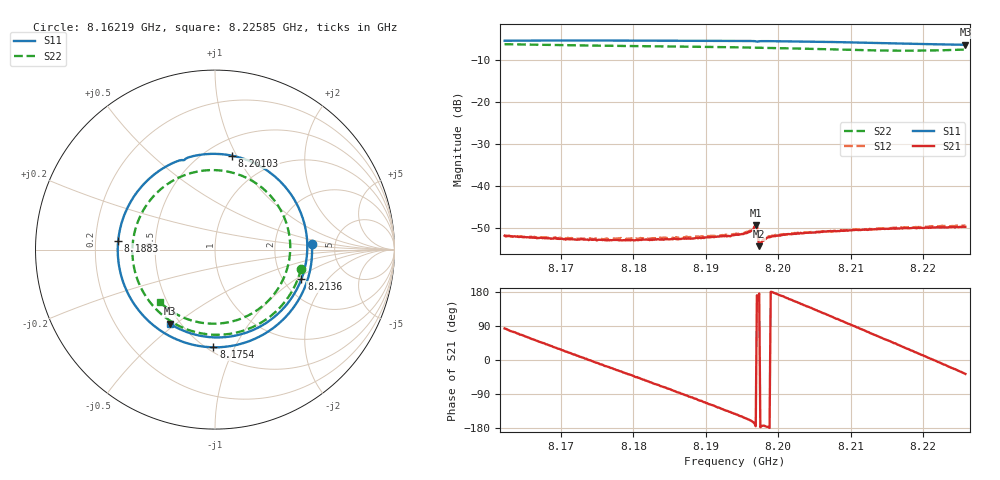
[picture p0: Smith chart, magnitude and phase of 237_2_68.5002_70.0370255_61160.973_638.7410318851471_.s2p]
#  HZ  S  RI  R  50.00
! Rohde & Schwarz Vector Network Analyzer
! Rohde-Schwarz,ZNB20-2Port,1311601062101988,3.16
! Created: UTC 3/20/2024, 4:59:11 PM
! freq[Hz]  re:S11  im:S11  re:S21  im:S21  re:S12  im:S12  re:S22  im:S22
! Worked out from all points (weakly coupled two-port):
!   401 points, 8.16219 GHz to 8.22585 GHz, reference 50 ohm
!   highest |S21| = -49.43 dB at 8.19689 GHz (marker M1); lowest = -54.4 dB at 8.19737 GHz (marker M2)
!   lowest |S11| = -6.3 dB at 8.22585 GHz (marker M3), VSWR 2.87, Z = 22.1 - j23.7 ohm
!   |S11| at or under -10 dB: nowhere
!   |S22| runs from -7.7 to -6.2 dB; largest |S21 - S12| = 0.00021
!   S11 on the Smith chart (normalised r, x): 8.16219 GHz: 3.32, +0.30; 8.1754 GHz: 0.54, -0.83; 8.1883 GHz: 0.30, +0.04; 8.20103 GHz: 0.66, +0.96; 8.2136 GHz: 2.51, -1.11; 8.22585 GHz: 0.44, -0.47
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8.162195e9  0.5395 0.0324  0.000295 0.00251  0.000317 0.00249  0.4798 -0.1054
8.167128e9  0.4625 -0.2853  0.00163 0.00176  0.00162 0.00177  0.3313 -0.3523
8.172858e9  0.1628 -0.5196  0.00229 0.00027  0.00231 0.000302  0.0293 -0.4741
8.175404e9  -0.00859 -0.5443  0.00221 -0.000441  0.00231 -0.0004  -0.1147 -0.4578
8.179224e9  -0.2601 -0.4777  0.00177 -0.00135  0.00183 -0.00142  -0.303 -0.3561
8.183521e9  -0.4701 -0.272  0.000911 -0.00209  0.000919 -0.00217  -0.435 -0.1582
8.188295e9  -0.5395 0.0484  -0.000438 -0.00231  -0.000491 -0.00239  -0.4463 0.1033
8.19116e9  -0.4841 0.2401  -0.00125 -0.00209  -0.00137 -0.0021  -0.3814 0.2479
8.194025e9  -0.3622 0.3988  -0.00204 -0.00159  -0.00213 -0.00155  -0.2701 0.3614
8.196889e9  -0.1849 0.499  -0.00336 -0.000306  -0.00344 -0.000184  -0.1249 0.4286
8.197367e9  -0.1624 0.5072  -0.00189 0.000154  -0.00194 0.000287  -0.0989 0.4348
8.197685e9  -0.1399 0.5161  -0.00211 -0.000212  -0.00211 -9.83e-05  -0.0814 0.438
8.198481e9  -0.0835 0.528  -0.0024 -0.000149  -0.00243 -4.8e-05  -0.0364 0.4426
8.201027e9  0.0961 0.5231  -0.00252 0.000689  -0.00251 0.000817  0.1071 0.426
8.204688e9  0.3275 0.4125  -0.002 0.00191  -0.00196 0.00199  0.2881 0.3214
8.209303e9  0.4992 0.139  -0.00044 0.00287  -0.000396 0.00293  0.4135 0.0835
8.2136e9  0.4815 -0.1639  0.00131 0.00271  0.00142 0.00274  0.3761 -0.1732
8.215351e9  0.4229 -0.2753  0.00196 0.00235  0.00205 0.0023  0.3156 -0.2651
8.218216e9  0.2731 -0.4163  0.00279 0.00139  0.00289 0.00137  0.1691 -0.3748
8.220762e9  0.1016 -0.4817  0.00313 0.00031  0.00323 0.0002  0.00664 -0.4127
8.223149e9  -0.0704 -0.4823  0.0031 -0.000754  0.00317 -0.000915  -0.1511 -0.3884
8.225855e9  -0.252 -0.4123  0.00259 -0.00193  0.00258 -0.0021  -0.3077 -0.2921
